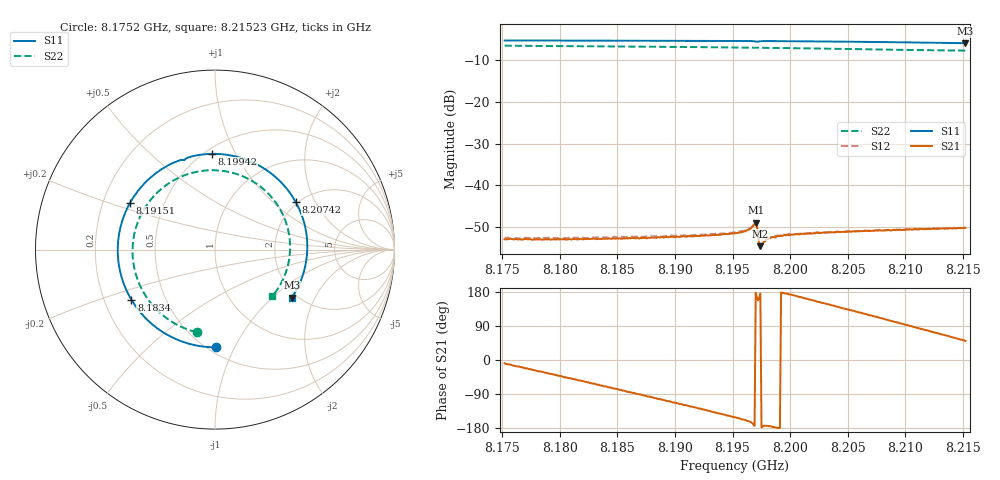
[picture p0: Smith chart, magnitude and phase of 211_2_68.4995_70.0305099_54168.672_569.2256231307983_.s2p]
#  HZ  S  RI  R  50.00
! Rohde & Schwarz Vector Network Analyzer
! Rohde-Schwarz,ZNB20-2Port,1311601062101988,3.16
! Created: UTC 3/20/2024, 4:58:02 PM
! freq[Hz]  re:S11  im:S11  re:S21  im:S21  re:S12  im:S12  re:S22  im:S22
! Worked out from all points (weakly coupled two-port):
!   401 points, 8.1752 GHz to 8.21523 GHz, reference 50 ohm
!   highest |S21| = -48.97 dB at 8.19701 GHz (marker M1); lowest = -54.6 dB at 8.19741 GHz (marker M2)
!   lowest |S11| = -5.9 dB at 8.21523 GHz (marker M3), VSWR 3.04, Z = 93.3 - j67.2 ohm
!   |S11| at or under -10 dB: nowhere
!   |S22| runs from -7.7 to -6.5 dB; largest |S21 - S12| = 0.00021
!   S11 on the Smith chart (normalised r, x): 8.1752 GHz: 0.55, -0.85; 8.1834 GHz: 0.32, -0.25; 8.19151 GHz: 0.32, +0.23; 8.19942 GHz: 0.54, +0.81; 8.20742 GHz: 1.96, +1.42; 8.21523 GHz: 1.87, -1.34
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8.175195e9  0.00594 -0.5444  0.00223 -0.000351  0.00232 -0.00039  -0.1023 -0.4605
8.178498e9  -0.2151 -0.4998  0.0019 -0.00116  0.00193 -0.00124  -0.2704 -0.3817
8.181901e9  -0.4045 -0.3631  0.0013 -0.00186  0.00131 -0.00196  -0.3968 -0.2408
8.183402e9  -0.466 -0.2791  0.000961 -0.00206  0.000917 -0.00219  -0.4321 -0.165
8.186005e9  -0.531 -0.1108  0.000235 -0.00233  0.000194 -0.00241  -0.4594 -0.0235
8.188607e9  -0.5369 0.0701  -0.000515 -0.00232  -0.000591 -0.00238  -0.4414 0.1192
8.191509e9  -0.4726 0.2617  -0.00135 -0.00203  -0.00146 -0.00206  -0.37 0.2628
8.195213e9  -0.2953 0.4493  -0.00232 -0.0013  -0.00245 -0.00125  -0.2135 0.3948
8.196214e9  -0.2327 0.4836  -0.00269 -0.000998  -0.00279 -0.000936  -0.1619 0.4168
8.196914e9  -0.183 0.4999  -0.00342 -0.00036  -0.00353 -0.000176  -0.124 0.4284
8.197014e9  -0.1756 0.4994  -0.00356 0.000167  -0.00358 0.000325  -0.1186 0.4295
8.197415e9  -0.1594 0.5084  -0.00185 0.000158  -0.00188 0.000231  -0.0968 0.4346
8.197515e9  -0.1524 0.5117  -0.00194 -7.2e-05  -0.00195 2.7e-05  -0.0914 0.4355
8.198215e9  -0.1022 0.525  -0.00229 -0.000218  -0.00234 -0.000127  -0.0521 0.4409
8.199416e9  -0.0172 0.5335  -0.0025 0.000125  -0.00253 0.000244  0.0161 0.4414
8.201919e9  0.1571 0.507  -0.00245 0.000988  -0.00244 0.00109  0.1544 0.4086
8.204521e9  0.3183 0.4199  -0.00202 0.00188  -0.00197 0.00195  0.2803 0.328
8.207424e9  0.4506 0.2634  -0.0012 0.00261  -0.00111 0.00266  0.38 0.1909
8.208625e9  0.4854 0.1853  -0.000732 0.0028  -0.000628 0.00284  0.4041 0.1235
8.210326e9  0.5118 0.0669  -3.4e-05 0.00295  5.62e-05 0.00296  0.4185 0.0222
8.211928e9  0.5103 -0.0476  0.000628 0.00292  0.00071 0.00292  0.4093 -0.0751
8.21523e9  0.4278 -0.2682  0.00196 0.00238  0.00204 0.00233  0.3201 -0.2587
